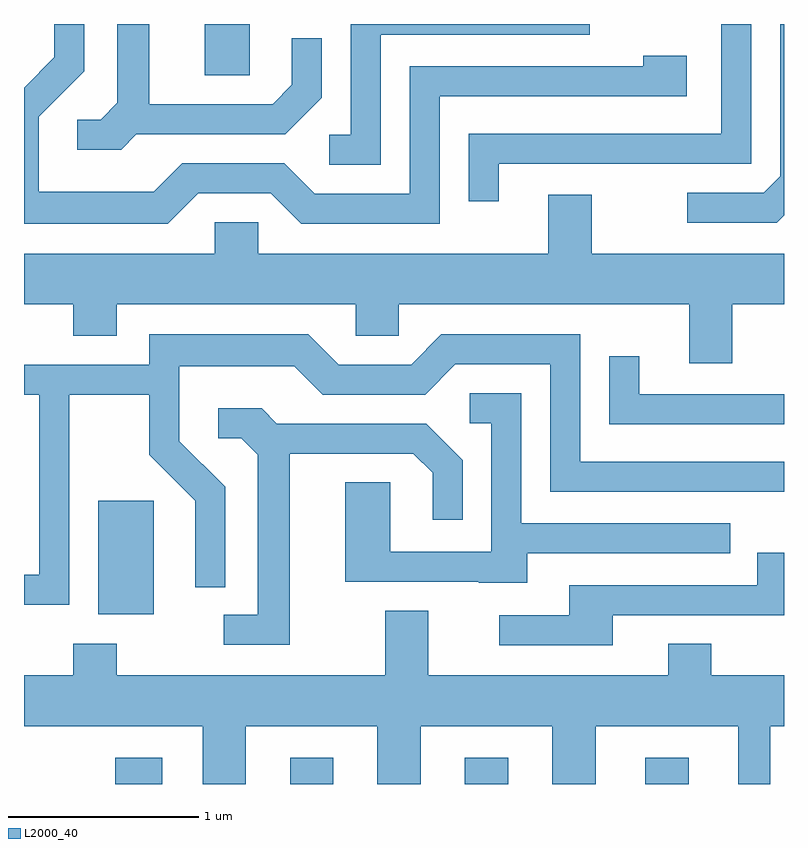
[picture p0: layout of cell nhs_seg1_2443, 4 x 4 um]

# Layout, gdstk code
import gdstk
lib = gdstk.Library(unit=1e-6, precision=1e-09)
def R(c, l, rs):  # rectangles x0, y0, x1, y1
    for r in rs: c.add(gdstk.rectangle(r[:2], r[2:], *l))
def P(c, l, *ps):  # polygons
    for p in ps: c.add(gdstk.Polygon(p, *l))
L2000_40 = (2000, 40)

nhs_seg1_2443 = lib.new_cell('nhs_seg1_2443')
R(nhs_seg1_2443, L2000_40, [(260.091,903.712,260.339,903.849), (261.011,903.712,261.239,903.849), (261.931,903.712,262.159,903.849), (262.881,903.712,263.109,903.849), (260.001,904.606,260.294,905.204), (260.561,907.441,260.799,907.712)])
P(nhs_seg1_2443, L2000_40, [(263.611,906.705),(263.611,907.712),(263.591,907.712),(263.591,906.912),(263.504,906.824),(263.103,906.824),(263.103,906.666),(263.572,906.666)],
  [(262.109,906.976),(263.439,906.976),(263.439,907.712),(263.281,907.712),(263.281,907.134),(261.951,907.134),(261.951,906.778),(262.109,906.778)],
  [(260.202,907.131),(260.986,907.131),(261.179,907.324),(261.179,907.638),(261.021,907.638),(261.021,907.392),(260.919,907.289),(260.269,907.289),(260.269,907.712),(260.101,907.712),(260.101,907.297),(260.014,907.209),(259.892,907.209),(259.892,907.051),(260.122,907.051)],
  [(261.489,907.656),(262.588,907.656),(262.588,907.712),(261.331,907.712),(261.331,907.129),(261.218,907.129),(261.218,906.971),(261.489,906.971)],
  [(260.527,906.821),(260.909,906.821),(261.069,906.661),(261.799,906.661),(261.799,907.331),(263.099,907.331),(263.099,907.544),(262.871,907.544),(262.871,907.489),(261.641,907.489),(261.641,906.819),(261.142,906.819),(260.981,906.979),(260.444,906.979),(260.294,906.829),(259.689,906.829),(259.689,907.224),(259.929,907.464),(259.929,907.712),(259.771,907.712),(259.771,907.537),(259.611,907.377),(259.611,906.661),(260.367,906.661)],
  [(263.339,906.236),(263.611,906.236),(263.611,906.504),(262.599,906.504),(262.599,906.814),(262.371,906.814),(262.371,906.504),(260.844,906.504),(260.844,906.669),(260.616,906.669),(260.616,906.504),(259.611,906.504),(259.611,906.236),(259.871,906.236),(259.871,906.071),(260.099,906.071),(260.099,906.236),(261.356,906.236),(261.356,906.071),(261.584,906.071),(261.584,906.236),(263.111,906.236),(263.111,905.926),(263.339,905.926)],
  [(259.849,905.761),(260.271,905.761),(260.271,905.444),(260.511,905.204),(260.511,904.748),(260.669,904.748),(260.669,905.277),(260.429,905.517),(260.429,905.911),(261.034,905.911),(261.183,905.761),(261.722,905.761),(261.882,905.921),(262.381,905.921),(262.381,905.251),(263.611,905.251),(263.611,905.409),(262.539,905.409),(262.539,906.079),(261.808,906.079),(261.649,905.919),(261.267,905.919),(261.106,906.079),(260.271,906.079),(260.271,905.919),(259.611,905.919),(259.611,905.761),(259.691,905.761),(259.691,904.814),(259.611,904.814),(259.611,904.656),(259.849,904.656)],
  [(263.611,905.764),(262.849,905.764),(262.849,905.963),(262.691,905.963),(262.691,905.606),(263.611,905.606)],
  [(262.259,904.926),(263.328,904.926),(263.328,905.084),(262.229,905.084),(262.229,905.769),(261.957,905.769),(261.957,905.611),(262.071,905.611),(262.071,904.934),(261.539,904.934),(261.539,905.299),(261.301,905.299),(261.301,904.776),(262.005,904.776),(262.005,904.771),(262.259,904.771)],
  [(261.009,905.451),(261.659,905.451),(261.761,905.349),(261.761,905.103),(261.919,905.103),(261.919,905.417),(261.727,905.609),(260.942,905.609),(260.861,905.689),(260.633,905.689),(260.633,905.531),(260.754,905.531),(260.841,905.444),(260.841,904.604),(260.663,904.604),(260.663,904.446),(261.009,904.446)],
  [(262.709,904.601),(263.611,904.601),(263.611,904.929),(263.471,904.929),(263.471,904.759),(262.481,904.759),(262.481,904.599),(262.113,904.599),(262.113,904.441),(262.709,904.441)],
  [(260.779,904.016),(261.471,904.016),(261.471,903.712),(261.699,903.712),(261.699,904.016),(262.391,904.016),(262.391,903.712),(262.619,903.712),(262.619,904.016),(263.371,904.016),(263.371,903.712),(263.539,903.712),(263.539,904.016),(263.611,904.016),(263.611,904.284),(263.229,904.284),(263.229,904.449),(263.001,904.449),(263.001,904.284),(261.739,904.284),(261.739,904.624),(261.511,904.624),(261.511,904.284),(260.099,904.284),(260.099,904.449),(259.871,904.449),(259.871,904.284),(259.611,904.284),(259.611,904.016),(260.551,904.016),(260.551,903.712),(260.779,903.712)])

lib.write_gds('nhs_seg1_2443.gds')
